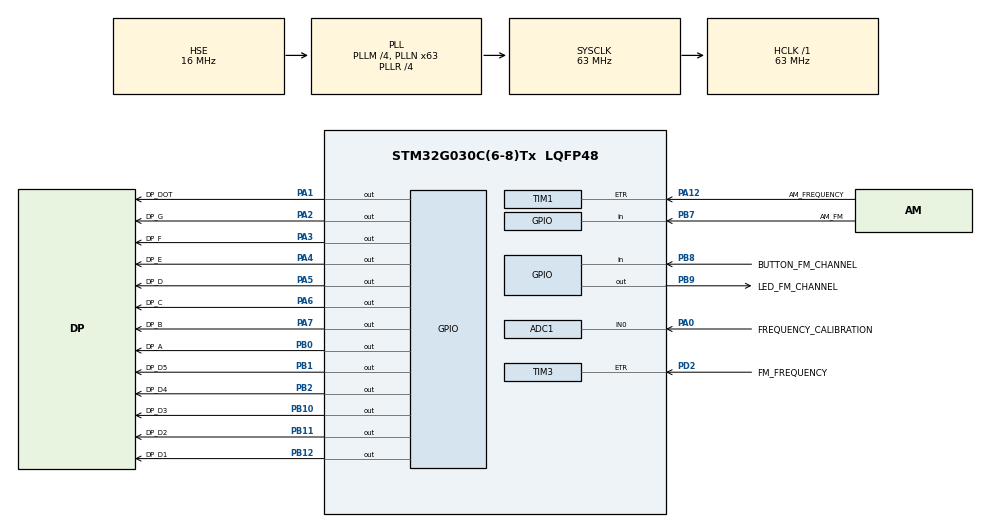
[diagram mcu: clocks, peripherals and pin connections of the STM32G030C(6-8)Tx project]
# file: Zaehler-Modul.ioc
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Mcu.Family=STM32G0
TIM17.Prescaler=500
RCC.CortexFreq_Value=63000000
VP_TIM17_VS_ClockSourceINT.Mode=Enable_Timer
SH.S_TIM1_ETR.0=TIM1_ETR,ClockSourceETR_Mode2
PA12\ [PA10].GPIO_Label=AM_FREQUENCY
PA0.GPIO_Label=FREQUENCY_CALIBRATION
PA14-BOOT0.Mode=Serial_Wire
PB0.GPIO_Label=DP_A
PA6.GPIO_Label=DP_C
PB11.Signal=GPIO_Output
PF0-OSC_IN\ (PF0).Signal=RCC_OSC_IN
RCC.SYSCLKSource=RCC_SYSCLKSOURCE_PLLCLK
ProjectManager.StackSize=0x400
NVIC.TIM17_IRQn=true\:0\:0\:false\:false\:true\:true\:true
RCC.HCLKFreq_Value=63000000
PA12\ [PA10].Signal=S_TIM1_ETR
RCC.AHBFreq_Value=63000000
PA14-BOOT0.Signal=SYS_SWCLK
ADC1.Channel-0\#ChannelRegularConversion=ADC_CHANNEL_0
RCC.HSE_VALUE=16000000
PB2.Signal=GPIO_Output
TIM14.Period=900
PB12.GPIO_Label=DP_D1
TIM17.Period=250
PB1.GPIO_Label=DP_D5
PA0.Mode=IN0
PB7.Signal=GPIO_Input
PF1-OSC_OUT\ (PF1).Mode=HSE-External-Oscillator
ADC1.SamplingTime-0\#ChannelRegularConversion=ADC_SAMPLINGTIME_COMMON_1
PA0.Signal=ADC1_IN0
PB7.GPIO_Label=AM_FM
ADC1.SelectedChannel=ADC_CHANNEL_0
PB9.Signal=GPIO_Output
Mcu.Package=LQFP48
PB1.Signal=GPIO_Output
PA6.Signal=GPIO_Output
PA2.GPIO_Label=DP_G
VP_TIM14_VS_ClockSourceINT.Mode=Enable_Timer
TIM16.Prescaler=1000
PA4.GPIO_Label=DP_E
PA3.Signal=GPIO_Output
PB7.GPIO_PuPd=GPIO_PULLUP
RCC.PLLSourceVirtual=RCC_PLLSOURCE_HSE
NVIC.TIM14_IRQn=true\:0\:0\:false\:false\:true\:true\:true
ADC1.Rank-0\#ChannelRegularConversion=1
PB9.GPIO_Label=LED_FM_CHANNEL
TIM3.AutoReloadPreload=TIM_AUTORELOAD_PRELOAD_ENABLE
PB8.GPIO_PuPd=GPIO_PULLUP
PB11.GPIO_Label=DP_D2
RCC.EXTERNAL_CLOCK_VALUE=12288000
VP_TIM16_VS_ClockSourceINT.Mode=Enable_Timer
NVIC.TIM16_IRQn=true\:0\:0\:false\:false\:true\:true\:true
PF0-OSC_IN\ (PF0).Mode=HSE-External-Oscillator
PA13.Signal=SYS_SWDIO
TIM1.AutoReloadPreload=TIM_AUTORELOAD_PRELOAD_ENABLE
PB8.GPIO_Label=BUTTON_FM_CHANNEL
ProjectManager.TargetToolchain=STM32CubeIDE
PB10.GPIO_Label=DP_D3
RCC.LSE_VALUE=32768
PA1.Signal=GPIO_Output
PB10.Signal=GPIO_Output
PA5.Signal=GPIO_Output
board=custom
RCC.VCOOutputFreq_Value=252000000
TIM16.Period=900
RCC.ADCFreq_Value=63000000
PA1.GPIO_Label=DP_DOT
PA13.Mode=Serial_Wire
Mcu.Name=STM32G030C(6-8)Tx
SH.S_TIM3_ETR.0=TIM3_ETR,ClockSourceETR_Mode2
TIM14.Prescaler=1000
PA2.Signal=GPIO_Output
NVIC.TIM1_CC_IRQn=true\:0\:0\:false\:false\:true\:true\:true
PA4.Signal=GPIO_Output
RCC.SYSCLKFreq_VALUE=63000000
PA7.GPIO_Label=DP_B
ADC1.master=1
PF1-OSC_OUT\ (PF1).Signal=RCC_OSC_OUT
PA5.GPIO_Label=DP_D
PB2.GPIO_Label=DP_D4
ProjectManager.HeapSize=0x200
RCC.HSI_VALUE=16000000
RCC.PLLR=RCC_PLLR_DIV4
ADC1.NbrOfConversionFlag=1
RCC.PLLM=RCC_PLLM_DIV4
RCC.PLLN=63
PB8.Signal=GPIO_Input
PD2.Signal=S_TIM3_ETR
PB0.Signal=GPIO_Output
NVIC.TIM1_BRK_UP_TRG_COM_IRQn=true\:0\:0\:false\:false\:true\:true\:true
PB12.Signal=GPIO_Output
PD2.GPIO_Label=FM_FREQUENCY
PA3.GPIO_Label=DP_F
PA7.Signal=GPIO_Output

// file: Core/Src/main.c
/* USER CODE BEGIN Header */
/**
  ******************************************************************************
  * @file           : main.c
  * @brief          : Main program body
  ******************************************************************************
  * @attention
  *
  * <h2><center>&copy; Copyright (c) 2022 STMicroelectronics.
  * All rights reserved.</center></h2>
  *
  * This software component is licensed by ST under BSD 3-Clause license,
  * the "License"; You may not use this file except in compliance with the
  * License. You may obtain a copy of the License at:
  *                        opensource.org/licenses/BSD-3-Clause
  *
  ******************************************************************************
  */
/* USER CODE END Header */
#include "main.h"

/* USER CODE BEGIN Includes */
#include <math.h>
#include <string.h>
#include <stdbool.h>
#include <stdlib.h>

/* USER CODE END Includes */

ADC_HandleTypeDef hadc1;

TIM_HandleTypeDef htim1;
TIM_HandleTypeDef htim3;
TIM_HandleTypeDef htim14;
TIM_HandleTypeDef htim16;
TIM_HandleTypeDef htim17;

/* USER CODE BEGIN PV */
bool SHOW_FM_CHANNEL = false;
bool SHOW_AM = false;

double FREQUENCY_CALIBRATION = 0.9975;

int FM_FREQUENCY = 0;
int FM_FREQUENCIES_BUFFER_POSITION = 0;
int FM_FREQUENCIES_BUFFER[] = { 10000, 10000, 10000, 10000, 10000 };
int FM_FREQUENCY_FILTERED = 0;
int FM_FREQUENCY_FILTERED_AVERAGE = 10000;
double FM_CHANNEL = 0;

int AM_FREQUENCY = 0;
int AM_FREQUENCIES_BUFFER_POSITION = 0;
int AM_FREQUENCIES_BUFFER[] = { 1000, 1000, 1000, 10000, 10000 };
int AM_FREQUENCY_FILTERED = 0;
int AM_FREQUENCY_FILTERED_AVERAGE = 1000;
/* USER CODE END PV */

void SystemClock_Config(void);
static void MX_GPIO_Init(void);
static void MX_TIM1_Init(void);
static void MX_TIM3_Init(void);
static void MX_TIM14_Init(void);
static void MX_TIM16_Init(void);
static void MX_TIM17_Init(void);
static void MX_ADC1_Init(void);

/* USER CODE BEGIN 0 */

int abc = 35000;

int filter(int64_t in, int64_t average, int alpha)
{
	int64_t tmp;
	tmp = (int64_t)in * (alpha) + (int64_t)average * (65536 - alpha);

	return (int32_t)((tmp + 32768) / 65536);
}

int compare(const void * a, const void * b)
{
	return (*(int*)a - *(int*)b);
}

int filterFMFrequency()
{
	int buffer[] = { 10000, 10000, 10000, 10000, 10000 };

	for(int i = 0; i < 5; i++)
	{
		buffer[i] = FM_FREQUENCIES_BUFFER[i];
	}

	qsort(buffer, 5, sizeof(int), compare);
	return buffer[2];
}

int filterAMFrequency()
{
	int buffer[] = { 1000, 1000, 1000, 1000, 1000 };

	for(int i = 0; i < 5; i++)
	{
		buffer[i] = AM_FREQUENCIES_BUFFER[i];
	}

	qsort(buffer, 5, sizeof(int), compare);
	return buffer[2];
}

double getCalibrationValue()
{
	uint32_t y = 0;

	for (int i = 0; i < 5; i++)
	{
		HAL_ADC_Start(&hadc1);
		HAL_ADC_PollForConversion(&hadc1, HAL_MAX_DELAY);
		int x = HAL_ADC_GetValue(&hadc1);

		y += x / 5;
	}

	// +/- 0.5%
	double value = 0.995 + 0.000002442 * y;

	return value;
}

void HAL_TIM_PeriodElapsedCallback(TIM_HandleTypeDef *htim)
  {
  	if (htim->Instance == TIM14)
  	{
  		// 64 = PRESCALER / 7 = DEPENDING ON CPU-FREQUENCY / 10.7 MHz = IF
  		int f = 1 * (int)round((((TIM3->CNT * 64 * 7 * FREQUENCY_CALIBRATION) - 1070000) / 1000.0) / 1.0);

  		if ((f < (FM_FREQUENCY + 3)) || (f > (FM_FREQUENCY - 3)))
  		{
  			FM_FREQUENCY = f;
  			FM_FREQUENCIES_BUFFER[FM_FREQUENCIES_BUFFER_POSITION] = FM_FREQUENCY;

  			if (FM_FREQUENCIES_BUFFER_POSITION == 4)
  			{
  				FM_FREQUENCIES_BUFFER_POSITION = 0;
  			}
  			else
  			{
  				FM_FREQUENCIES_BUFFER_POSITION++;
  			}
  		}

  		TIM3->CNT = 0;
  		TIM14->CNT = 0;
  	}
  	else if (htim->Instance == TIM16)
  	{
  		// 7 = DEPENDING ON CPU-FREQUENCY / 455 kHz = IF
  		AM_FREQUENCY = ((TIM1->CNT * 7 * FREQUENCY_CALIBRATION) / 100.0) - 455;

  		AM_FREQUENCIES_BUFFER[AM_FREQUENCIES_BUFFER_POSITION] = AM_FREQUENCY;

  		if (AM_FREQUENCIES_BUFFER_POSITION == 4)
  		{
  			AM_FREQUENCIES_BUFFER_POSITION = 0;
  		}
  		else
  		{
  			AM_FREQUENCIES_BUFFER_POSITION++;
  		}

  		TIM1->CNT = 0;
  		TIM16->CNT = 0;
  	}
  	else if (htim->Instance == TIM17)
  	{
  		FREQUENCY_CALIBRATION = getCalibrationValue();

  		FM_FREQUENCY_FILTERED = filterFMFrequency();
  		FM_FREQUENCY_FILTERED_AVERAGE = filter(FM_FREQUENCY_FILTERED_AVERAGE, FM_FREQUENCY_FILTERED, abc);
  		FM_CHANNEL = (0.0333333 * ((FM_FREQUENCY_FILTERED_AVERAGE / 5) * 5.)) - 290.;

  		AM_FREQUENCY_FILTERED = filterAMFrequency();
  		AM_FREQUENCY_FILTERED_AVERAGE = filter(AM_FREQUENCY_FILTERED_AVERAGE, AM_FREQUENCY_FILTERED, abc);

  		SHOW_AM = !HAL_GPIO_ReadPin(GPIOB, AM_FM_Pin);

  		if (SHOW_AM)
  		{
  			display(AM_FREQUENCY_FILTERED_AVERAGE, 0);
  		}
  		else
  		{
  			if (SHOW_FM_CHANNEL)
			{
  				display_channel(FM_CHANNEL, 0);
			}
			else
			{
				display(FM_FREQUENCY_FILTERED_AVERAGE, 1);
			}
  		}
  	}

  }
/* USER CODE END 0 */

int main(void)
{

  /* MCU Configuration--------------------------------------------------------*/

  /* Reset of all peripherals, Initializes the Flash interface and the Systick. */
  HAL_Init();

  /* Configure the system clock */
  SystemClock_Config();

  /* Initialize all configured peripherals */
  MX_GPIO_Init();
  MX_TIM1_Init();
  MX_TIM3_Init();
  MX_TIM14_Init();
  MX_TIM16_Init();
  MX_TIM17_Init();
  MX_ADC1_Init();
  /* USER CODE BEGIN 2 */
  HAL_TIM_Base_Start(&htim1); 					// AM FRECQUENCY ETR
  HAL_TIM_Base_Start(&htim3); 					// FM FRECQUENCY ETR
  HAL_TIM_Base_Start_IT(&htim14); 				// FM FRECQUENCY COUNT PERIOD
  HAL_TIM_Base_Start_IT(&htim16); 				// AM FRECQUENCY COUNT PERIOD
  HAL_TIM_Base_Start_IT(&htim17);				// DISPLAY MULTIPLEXING

  /* USER CODE END 2 */

  /* Infinite loop */
  /* USER CODE BEGIN WHILE */
  while (1)
  {
	  if (!HAL_GPIO_ReadPin(GPIOB, BUTTON_FM_CHANNEL_Pin))
	  {
		  SHOW_FM_CHANNEL = !SHOW_FM_CHANNEL;
		  HAL_Delay(150);
		  HAL_GPIO_WritePin(GPIOB, LED_FM_CHANNEL_Pin, SHOW_FM_CHANNEL);
	  }

    /* USER CODE END WHILE */

  }
}

void SystemClock_Config(void)
{
  RCC_OscInitTypeDef RCC_OscInitStruct = {0};
  RCC_ClkInitTypeDef RCC_ClkInitStruct = {0};
  RCC_PeriphCLKInitTypeDef PeriphClkInit = {0};

  /** Configure the main internal regulator output voltage
  */
  HAL_PWREx_ControlVoltageScaling(PWR_REGULATOR_VOLTAGE_SCALE1);
  /** Initializes the RCC Oscillators according to the specified parameters
  * in the RCC_OscInitTypeDef structure.
  */
  RCC_OscInitStruct.OscillatorType = RCC_OSCILLATORTYPE_HSE;
  RCC_OscInitStruct.HSEState = RCC_HSE_ON;
  RCC_OscInitStruct.PLL.PLLState = RCC_PLL_ON;
  RCC_OscInitStruct.PLL.PLLSource = RCC_PLLSOURCE_HSE;
  RCC_OscInitStruct.PLL.PLLM = RCC_PLLM_DIV4;
  RCC_OscInitStruct.PLL.PLLN = 63;
  RCC_OscInitStruct.PLL.PLLP = RCC_PLLP_DIV2;
  RCC_OscInitStruct.PLL.PLLR = RCC_PLLR_DIV4;
  if (HAL_RCC_OscConfig(&RCC_OscInitStruct) != HAL_OK)
  {
    Error_Handler();
  }
  /** Initializes the CPU, AHB and APB buses clocks
  */
  RCC_ClkInitStruct.ClockType = RCC_CLOCKTYPE_HCLK|RCC_CLOCKTYPE_SYSCLK
                              |RCC_CLOCKTYPE_PCLK1;
  RCC_ClkInitStruct.SYSCLKSource = RCC_SYSCLKSOURCE_PLLCLK;
  RCC_ClkInitStruct.AHBCLKDivider = RCC_SYSCLK_DIV1;
  RCC_ClkInitStruct.APB1CLKDivider = RCC_HCLK_DIV1;

  if (HAL_RCC_ClockConfig(&RCC_ClkInitStruct, FLASH_LATENCY_2) != HAL_OK)
  {
    Error_Handler();
  }
  /** Initializes the peripherals clocks
  */
  PeriphClkInit.PeriphClockSelection = RCC_PERIPHCLK_ADC;
  PeriphClkInit.AdcClockSelection = RCC_ADCCLKSOURCE_SYSCLK;
  if (HAL_RCCEx_PeriphCLKConfig(&PeriphClkInit) != HAL_OK)
  {
    Error_Handler();
  }
}

static void MX_ADC1_Init(void)
{

  ADC_ChannelConfTypeDef sConfig = {0};

  /** Configure the global features of the ADC (Clock, Resolution, Data Alignment and number of conversion)
  */
  hadc1.Instance = ADC1;
  hadc1.Init.ClockPrescaler = ADC_CLOCK_SYNC_PCLK_DIV4;
  hadc1.Init.Resolution = ADC_RESOLUTION_12B;
  hadc1.Init.DataAlign = ADC_DATAALIGN_RIGHT;
  hadc1.Init.ScanConvMode = ADC_SCAN_DISABLE;
  hadc1.Init.EOCSelection = ADC_EOC_SINGLE_CONV;
  hadc1.Init.LowPowerAutoWait = DISABLE;
  hadc1.Init.LowPowerAutoPowerOff = DISABLE;
  hadc1.Init.ContinuousConvMode = DISABLE;
  hadc1.Init.NbrOfConversion = 1;
  hadc1.Init.DiscontinuousConvMode = DISABLE;
  hadc1.Init.ExternalTrigConv = ADC_SOFTWARE_START;
  hadc1.Init.ExternalTrigConvEdge = ADC_EXTERNALTRIGCONVEDGE_NONE;
  hadc1.Init.DMAContinuousRequests = DISABLE;
  hadc1.Init.Overrun = ADC_OVR_DATA_PRESERVED;
  hadc1.Init.SamplingTimeCommon1 = ADC_SAMPLETIME_1CYCLE_5;
  hadc1.Init.SamplingTimeCommon2 = ADC_SAMPLETIME_1CYCLE_5;
  hadc1.Init.OversamplingMode = DISABLE;
  hadc1.Init.TriggerFrequencyMode = ADC_TRIGGER_FREQ_HIGH;
  if (HAL_ADC_Init(&hadc1) != HAL_OK)
  {
    Error_Handler();
  }
  /** Configure Regular Channel
  */
  sConfig.Channel = ADC_CHANNEL_0;
  sConfig.Rank = ADC_REGULAR_RANK_1;
  sConfig.SamplingTime = ADC_SAMPLINGTIME_COMMON_1;
  if (HAL_ADC_ConfigChannel(&hadc1, &sConfig) != HAL_OK)
  {
    Error_Handler();
  }

}

static void MX_TIM1_Init(void)
{

  TIM_ClockConfigTypeDef sClockSourceConfig = {0};
  TIM_MasterConfigTypeDef sMasterConfig = {0};

  htim1.Instance = TIM1;
  htim1.Init.Prescaler = 0;
  htim1.Init.CounterMode = TIM_COUNTERMODE_UP;
  htim1.Init.Period = 65535;
  htim1.Init.ClockDivision = TIM_CLOCKDIVISION_DIV1;
  htim1.Init.RepetitionCounter = 0;
  htim1.Init.AutoReloadPreload = TIM_AUTORELOAD_PRELOAD_ENABLE;
  if (HAL_TIM_Base_Init(&htim1) != HAL_OK)
  {
    Error_Handler();
  }
  sClockSourceConfig.ClockSource = TIM_CLOCKSOURCE_ETRMODE2;
  sClockSourceConfig.ClockPolarity = TIM_CLOCKPOLARITY_NONINVERTED;
  sClockSourceConfig.ClockPrescaler = TIM_CLOCKPRESCALER_DIV1;
  sClockSourceConfig.ClockFilter = 0;
  if (HAL_TIM_ConfigClockSource(&htim1, &sClockSourceConfig) != HAL_OK)
  {
    Error_Handler();
  }
  sMasterConfig.MasterOutputTrigger = TIM_TRGO_RESET;
  sMasterConfig.MasterOutputTrigger2 = TIM_TRGO2_RESET;
  sMasterConfig.MasterSlaveMode = TIM_MASTERSLAVEMODE_DISABLE;
  if (HAL_TIMEx_MasterConfigSynchronization(&htim1, &sMasterConfig) != HAL_OK)
  {
    Error_Handler();
  }

}

static void MX_TIM3_Init(void)
{

  TIM_ClockConfigTypeDef sClockSourceConfig = {0};
  TIM_MasterConfigTypeDef sMasterConfig = {0};

  htim3.Instance = TIM3;
  htim3.Init.Prescaler = 0;
  htim3.Init.CounterMode = TIM_COUNTERMODE_UP;
  htim3.Init.Period = 65535;
  htim3.Init.ClockDivision = TIM_CLOCKDIVISION_DIV1;
  htim3.Init.AutoReloadPreload = TIM_AUTORELOAD_PRELOAD_ENABLE;
  if (HAL_TIM_Base_Init(&htim3) != HAL_OK)
  {
    Error_Handler();
  }
  sClockSourceConfig.ClockSource = TIM_CLOCKSOURCE_ETRMODE2;
  sClockSourceConfig.ClockPolarity = TIM_CLOCKPOLARITY_NONINVERTED;
  sClockSourceConfig.ClockPrescaler = TIM_CLOCKPRESCALER_DIV1;
  sClockSourceConfig.ClockFilter = 0;
  if (HAL_TIM_ConfigClockSource(&htim3, &sClockSourceConfig) != HAL_OK)
  {
    Error_Handler();
  }
  sMasterConfig.MasterOutputTrigger = TIM_TRGO_RESET;
  sMasterConfig.MasterSlaveMode = TIM_MASTERSLAVEMODE_DISABLE;
  if (HAL_TIMEx_MasterConfigSynchronization(&htim3, &sMasterConfig) != HAL_OK)
  {
    Error_Handler();
  }

}

static void MX_TIM14_Init(void)
{

  htim14.Instance = TIM14;
  htim14.Init.Prescaler = 1000;
  htim14.Init.CounterMode = TIM_COUNTERMODE_UP;
  htim14.Init.Period = 900;
  htim14.Init.ClockDivision = TIM_CLOCKDIVISION_DIV1;
  htim14.Init.AutoReloadPreload = TIM_AUTORELOAD_PRELOAD_DISABLE;
  if (HAL_TIM_Base_Init(&htim14) != HAL_OK)
  {
    Error_Handler();
  }

}

static void MX_TIM16_Init(void)
{

  htim16.Instance = TIM16;
  htim16.Init.Prescaler = 1000;
  htim16.Init.CounterMode = TIM_COUNTERMODE_UP;
  htim16.Init.Period = 900;
  htim16.Init.ClockDivision = TIM_CLOCKDIVISION_DIV1;
  htim16.Init.RepetitionCounter = 0;
  htim16.Init.AutoReloadPreload = TIM_AUTORELOAD_PRELOAD_DISABLE;
  if (HAL_TIM_Base_Init(&htim16) != HAL_OK)
  {
    Error_Handler();
  }

}

static void MX_TIM17_Init(void)
{

  htim17.Instance = TIM17;
  htim17.Init.Prescaler = 500;
  htim17.Init.CounterMode = TIM_COUNTERMODE_UP;
  htim17.Init.Period = 250;
  htim17.Init.ClockDivision = TIM_CLOCKDIVISION_DIV1;
  htim17.Init.RepetitionCounter = 0;
  htim17.Init.AutoReloadPreload = TIM_AUTORELOAD_PRELOAD_DISABLE;
  if (HAL_TIM_Base_Init(&htim17) != HAL_OK)
  {
    Error_Handler();
  }

}

static void MX_GPIO_Init(void)
{
  GPIO_InitTypeDef GPIO_InitStruct = {0};

  /* GPIO Ports Clock Enable */
  __HAL_RCC_GPIOF_CLK_ENABLE();
  __HAL_RCC_GPIOA_CLK_ENABLE();
  __HAL_RCC_GPIOB_CLK_ENABLE();
  __HAL_RCC_GPIOD_CLK_ENABLE();

  /*Configure GPIO pin Output Level */
  HAL_GPIO_WritePin(GPIOA, DP_DOT_Pin|DP_G_Pin|DP_F_Pin|DP_E_Pin
                          |DP_D_Pin|DP_C_Pin|DP_B_Pin, GPIO_PIN_RESET);

  /*Configure GPIO pin Output Level */
  HAL_GPIO_WritePin(GPIOB, DP_A_Pin|DP_D5_Pin|DP_D4_Pin|DP_D3_Pin
                          |DP_D2_Pin|DP_D1_Pin|LED_FM_CHANNEL_Pin, GPIO_PIN_RESET);

  /*Configure GPIO pins : DP_DOT_Pin DP_G_Pin DP_F_Pin DP_E_Pin
                           DP_D_Pin DP_C_Pin DP_B_Pin */
  GPIO_InitStruct.Pin = DP_DOT_Pin|DP_G_Pin|DP_F_Pin|DP_E_Pin
                          |DP_D_Pin|DP_C_Pin|DP_B_Pin;
  GPIO_InitStruct.Mode = GPIO_MODE_OUTPUT_PP;
  GPIO_InitStruct.Pull = GPIO_NOPULL;
  GPIO_InitStruct.Speed = GPIO_SPEED_FREQ_LOW;
  HAL_GPIO_Init(GPIOA, &GPIO_InitStruct);

  /*Configure GPIO pins : DP_A_Pin DP_D5_Pin DP_D4_Pin DP_D3_Pin
                           DP_D2_Pin DP_D1_Pin LED_FM_CHANNEL_Pin */
  GPIO_InitStruct.Pin = DP_A_Pin|DP_D5_Pin|DP_D4_Pin|DP_D3_Pin
                          |DP_D2_Pin|DP_D1_Pin|LED_FM_CHANNEL_Pin;
  GPIO_InitStruct.Mode = GPIO_MODE_OUTPUT_PP;
  GPIO_InitStruct.Pull = GPIO_NOPULL;
  GPIO_InitStruct.Speed = GPIO_SPEED_FREQ_LOW;
  HAL_GPIO_Init(GPIOB, &GPIO_InitStruct);

  /*Configure GPIO pins : AM_FM_Pin BUTTON_FM_CHANNEL_Pin */
  GPIO_InitStruct.Pin = AM_FM_Pin|BUTTON_FM_CHANNEL_Pin;
  GPIO_InitStruct.Mode = GPIO_MODE_INPUT;
  GPIO_InitStruct.Pull = GPIO_PULLUP;
  HAL_GPIO_Init(GPIOB, &GPIO_InitStruct);

}

void Error_Handler(void)
{
  __disable_irq();
  while (1)
  {
  }
}

/************************ (C) COPYRIGHT STMicroelectronics *****END OF FILE****/
